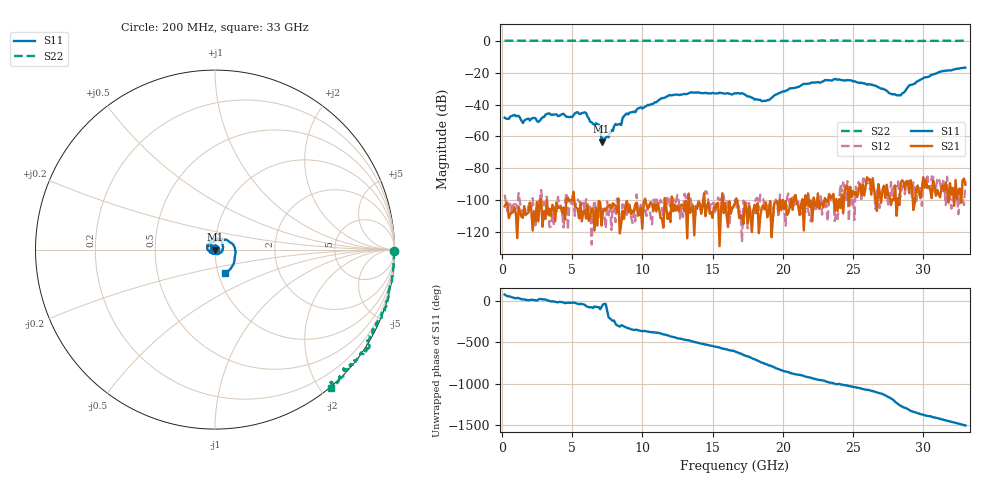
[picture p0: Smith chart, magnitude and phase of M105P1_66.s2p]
# GHZ S RI R 50
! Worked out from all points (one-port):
!   329 points, 200 MHz to 33 GHz, reference 50 ohm
!   lowest |S11| = -63.4 dB at 7.1 GHz (marker M1), VSWR 1.00, Z = 50 - j0.0636 ohm
!   |S11| at or under -10 dB: start of sweep to end of sweep
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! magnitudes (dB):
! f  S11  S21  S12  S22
! 200 MHz  -48.3  -103.9  -96.5  0.0
! 1.2 GHz  -47.1  -104.1  -95.5  0.0
! 1.5 GHz  -51.7  -111.0  -111.6  0.0
! 2.6 GHz  -51.0  -113.3  -106.2  0.0
! 3.3 GHz  -45.7  -108.9  -106.0  0.0
! 5.7 GHz  -45.3  -113.2  -104.4  0.0
! 6.9 GHz  -52.6  -100.5  -111.5  0.0
! 7 GHz  -54.3  -101.2  -102.6  0.0
! 7.1 GHz  -63.4  -115.9  -106.0  0.0
! 8.1 GHz  -52.2  -103.8  -113.8  -0.1
! 8.5 GHz  -52.9  -115.1  -114.9  0.0
! 8.9 GHz  -45.6  -100.5  -109.1  0.0
! 11.2 GHz  -37.0  -105.3  -102.0  0.0
! 13.5 GHz  -32.3  -106.2  -102.0  0.0
! 16.6 GHz  -33.0  -101.9  -99.7  -0.1
! 18.8 GHz  -37.7  -101.4  -104.1  -0.1
! 22.1 GHz  -26.2  -113.2  -106.2  -0.1
! 24.9 GHz  -24.9  -98.1  -102.7  0.0
! 27.6 GHz  -33.0  -97.2  -100.7  -0.1
! 28.4 GHz  -34.2  -88.9  -97.5  0.0
! 30.1 GHz  -23.0  -92.2  -86.5  0.0
! 33 GHz  -16.9  -90.2  -88.2  0.0
